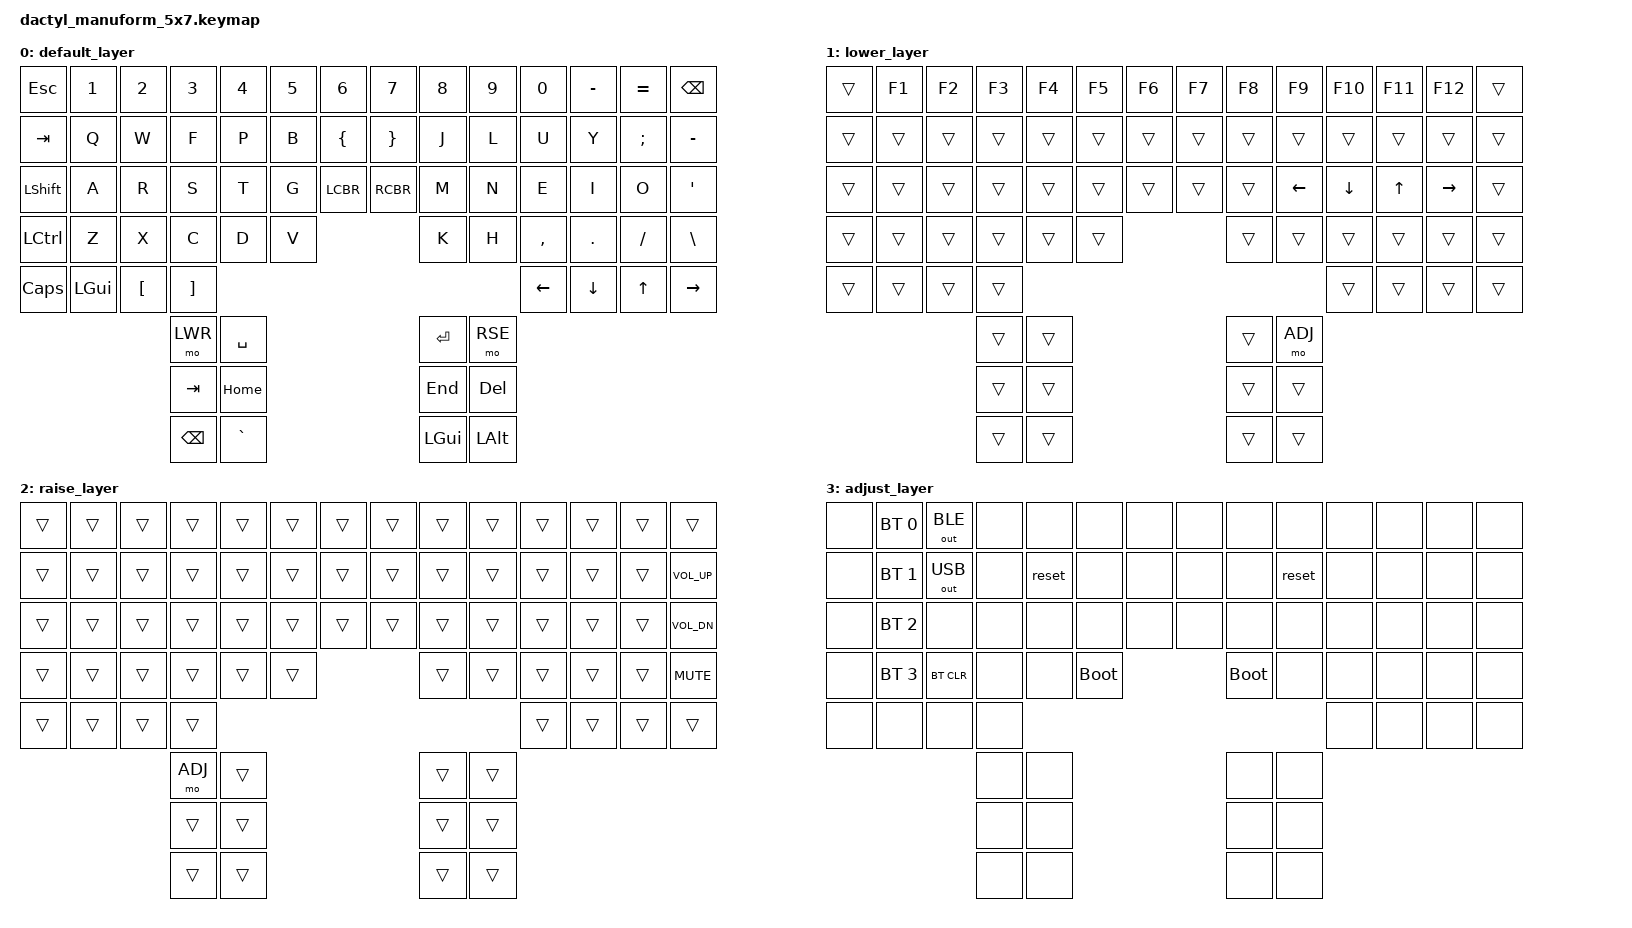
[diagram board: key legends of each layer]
#include <behaviors.dtsi>
#include <dt-bindings/zmk/keys.h>
#include <dt-bindings/zmk/bt.h>
#include <dt-bindings/zmk/outputs.h>

#define DEFAULT 0
#define LWR 1
#define RSE 2
#define ADJ 3

/ {
    keymap {
        compatible = "zmk,keymap";

        default_layer {
            bindings = <
                &kp ESC   &kp N1   &kp N2 &kp N3 &kp N4 &kp N5 &kp N6       &kp N7   &kp N8 &kp N9 &kp N0    &kp MINUS &kp EQUAL &kp BSPC
                &kp TAB   &kp Q    &kp W  &kp F  &kp P  &kp B  &kp LBRC     &kp RBRC &kp J  &kp L  &kp U     &kp Y     &kp SEMI  &kp MINUS
                &kp LSHFT &kp A    &kp R  &kp S  &kp T  &kp G  &kp LCBR     &kp RCBR &kp M  &kp N  &kp E     &kp I     &kp O     &kp SQT
                &kp LCTRL &kp Z    &kp X  &kp C  &kp D  &kp V                       &kp K  &kp H  &kp COMMA &kp DOT    &kp FSLH  &kp BSLH
                &kp CAPS  &kp LGUI &kp LBKT &kp RBKT                                              &kp LEFT  &kp DOWN   &kp UP    &kp RIGHT
                                            &mo LWR  &kp SPACE                    &kp RET  &mo RSE
                                            &kp TAB  &kp HOME                     &kp END  &kp DEL
                                            &kp BSPC &kp GRAVE                    &kp LGUI &kp LALT
            >;                                                                    
        };                                                                        
																	              
        lower_layer {                                                             
            bindings = <                                                          
                &trans  &kp F1 &kp F2 &kp F3 &kp F4 &kp F5 &kp F6          &kp F7 &kp F8   &kp F9 &kp F10  &kp F11 &kp F12   &trans 
                &trans  &trans &trans &trans &trans &trans &trans          &trans &trans &trans   &trans   &trans  &trans    &trans
                &trans  &trans &trans &trans &trans &trans &trans          &trans &trans &kp LEFT &kp DOWN &kp UP  &kp RIGHT &trans
                &trans  &trans &trans &trans &trans &trans                        &trans &trans   &trans   &trans  &trans    &trans
                &trans  &trans &trans &trans                                                      &trans   &trans  &trans    &trans
                                             &trans &trans                        &trans &mo ADJ
                                             &trans &trans                        &trans &trans
                                             &trans &trans                        &trans &trans
            >;                                                                    
        };                                                                        
																	              
        raise_layer {                                                             
            bindings = <                                                          
                &trans  &trans &trans &trans &trans &trans &trans         &trans  &trans &trans &trans &trans &trans &trans
                &trans  &trans &trans &trans &trans &trans &trans         &trans  &trans &trans &trans &trans &trans &kp K_VOL_UP
                &trans  &trans &trans &trans &trans &trans &trans         &trans  &trans &trans &trans &trans &trans &kp K_VOL_DN
                &trans  &trans &trans &trans &trans &trans                        &trans &trans &trans &trans &trans &kp K_MUTE
                &trans  &trans &trans &trans                                                    &trans &trans &trans &trans
                                             &mo ADJ &trans                       &trans &trans
                                             &trans  &trans                       &trans &trans
                                             &trans  &trans                       &trans &trans
            >;
        };

        adjust_layer {
            bindings = <
                &none &bt BT_SEL 0 &out OUT_BLE &none &none  &none &none     &none &none       &none  &none &none &none &none
                &none &bt BT_SEL 1 &out OUT_USB &none &reset &none &none     &none &none       &reset &none &none &none &none
                &none &bt BT_SEL 2 &none        &none &none  &none &none     &none &none       &none  &none &none &none &none
                &none &bt BT_SEL 3 &bt BT_CLR   &none &none  &bootloader           &bootloader &none  &none &none &none &none
                &none &none        &none        &none                                                 &none &none &none &none
                                                      &none &none             &none &none
                                                      &none &none             &none &none
                                                      &none &none             &none &none
            >;
        };
    };
};
